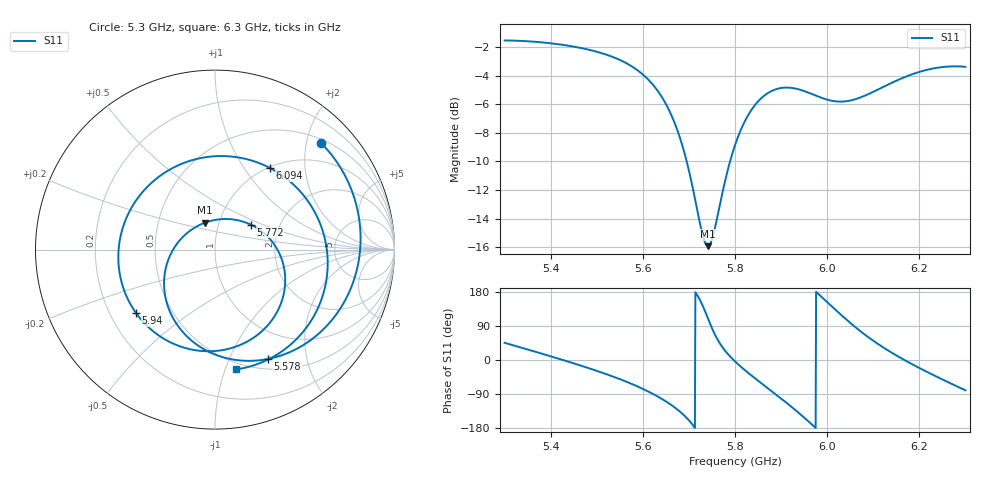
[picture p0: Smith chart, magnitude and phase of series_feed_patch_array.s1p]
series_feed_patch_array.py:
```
import emerge as em
import numpy as np
from emerge.plot import plot_sp, smith, plot_ff_polar, plot_ff

""" PATCH ANTENNA DEMO

This design is modeled after this Comsol Demo: https://www.comsol.com/model/microstrip-patch-antenna-11742

In this demo we build and simulate a rectangular patch antenna on a dielectric
substrate with airbox and lumped port excitation, then visualize S-parameters
and far-field radiation patterns. 

This simulation is quite heavy and might take a while to fully compute with SuperLU on ARM Mac's (UMFPACK Advised)

Due to the relatively coarse mesh, the resonance frequency is lower than in reality (expected around 1.59GHz)
"""

# --- Unit and simulation parameters --------------------------------------
mm = 0.001              # meters per millimeter

# --- Antenna geometry dimensions ----------------------------------------
# Array parameters
patch_widths = [13.4, 20.2, 23.4, 20.2, 13.4]  # mm - widths for 5 patches
patch_lengths = [15.1, 14.5, 14.4, 14.5, 15.1]  # mm - lengths for 5 patches
wline = 3.9 * mm        # feed line width
lline_first = 24.2 * mm # first feed line length
lline_rest = 14.5 * mm  # subsequent feed line lengths

# Convert patch dimensions to meters
patch_widths = [w * mm for w in patch_widths]
patch_lengths = [L * mm for L in patch_lengths]

# Substrate dimensions
wsub = 40 * mm         # substrate width (increased for array)
hsub = 180 * mm         # substrate length (increased for array)
th = 1.524 * mm         # substrate thickness
Rair = 100 * mm         # air sphere radius (increased for larger structure)

# Refined frequency range for antenna resonance around 1.54–1.6 GHz
f1 = 5.3e9             # start frequency
f2 = 6.3e9             # stop frequency

# --- Create simulation object -------------------------------------------
model = em.Simulation('SeriesFeedPatchArray', save_file=True)

model.check_version("2.2.1") # Checks version compatibility.

# --- Define geometry primitives -----------------------------------------
# Substrate block centered at origin in XY, thickness in Z (negative down)
dielectric = em.geo.Box(wsub, hsub, th,
                        position=(-wsub/2, -hsub/2, -th))

# Air box above substrate (Z positive)
air = em.geo.Sphere(Rair).background()
# Background makes sure no materials of overlapping domains are overwritten

# Ground plane
ground = (em.geo.XYPlate(wsub, hsub, position=(-wsub/2, -hsub/2, -th))
         .set_material(em.lib.PEC))

# --- Build series-fed patch array using chaining ------------------------
# Starting position for the array (bottom of substrate, centered in X)
y_start = -hsub/2
current_y = y_start

# Create the complete array geometry by chaining patches and feed lines
# Start with first feed line
array_geometry = em.geo.XYPlate(wline, lline_first,
                               position=(-wline/2, current_y, 0))
current_y += lline_first

# Add all 5 patches with their connecting feed lines
for i in range(5):
    w = patch_widths[i]
    L = patch_lengths[i]

    # Add patch centered on feed line using em.geo.add()
    patch = em.geo.XYPlate(w, L, position=(-w/2, current_y, 0))
    array_geometry = em.geo.add(array_geometry, patch)
    current_y += L

    # Add feed line after patch (except after the last patch)
    if i < 4:  # Only 4 feed lines after the first one
        feedline = em.geo.XYPlate(wline, lline_rest, position=(-wline/2, current_y, 0))
        array_geometry = em.geo.add(array_geometry, feedline)
        current_y += lline_rest

# Set material for entire array structure
array_geometry.set_material(em.lib.PEC)

# Plate defining lumped port geometry at the bottom feed line
port = em.geo.Plate(
    np.array([-wline/2, y_start, -th]),          # lower port corner
    np.array([wline, 0, 0]),                     # width vector along X
    np.array([0, 0, th])                         # height vector along Z
)

# --- Assign materials and simulation settings ---------------------------
# Dielectric material with some transparency for display
dielectric.set_material(em.Material(3.0, color="#207020", opacity=0.9))

# Mesh resolution: fraction of wavelength (larger = coarser mesh = less memory)
model.mw.set_resolution(0.15)

# Frequency sweep across the resonance
model.mw.set_frequency_range(f1, f2, 11)

# --- Combine geometry into simulation -----------------------------------
model.commit_geometry()

# --- Mesh refinement settings --------------------------------------------
# Finer boundary mesh on patch edges for accuracy
model.mesher.set_boundary_size(array_geometry, 1.5 * mm)
# Refined mesh on port face for excitation accuracy
model.mesher.set_face_size(port, 1 * mm)

# --- Generate mesh and preview ------------------------------------------
model.generate_mesh()             # build the finite-element mesh
model.view(selections=[port])     # show the mesh around the port

# --- Boundary conditions ------------------------------------------------
# Define lumped port with specified orientation and impedance
port_bc = model.mw.bc.LumpedPort(
    port, 1,
    width=wline, height=th,
    direction=em.ZAX, Z0=50
)

# Predefining selection
# The outside of the air box for the absorbing boundary
boundary_selection = air.boundary()
# The patch array and ground surface for PEC
pec_selection = em.select(array_geometry, ground)

# Assigning the boundary conditions
abc = model.mw.bc.AbsorbingBoundary(boundary_selection)
# --- Run frequency-domain solver ----------------------------------------
model.view(plot_mesh=True, volume_mesh=False)

# Try PARDISO (fast and memory efficient) or remove line to let emerge auto-select
try:
    model.set_solver(em.EMSolver.PARDISO)
    print("Using PARDISO solver")
except:
    try:
        model.set_solver(em.EMSolver.SUPERLU)
        print("Using SUPERLU solver")
    except:
        print("Using default solver")

if model.cache_run():
    data = model.mw.run_sweep(harddisc_threshold=10e3,
                              harddisc_path="./series_feed_patch_array_harddisc")
data = model.data.mw

# --- Post-process S-parameters ------------------------------------------
freqs = data.scalar.grid.freq
freq_dense = np.linspace(f1, f2, 1001)
S11 = data.scalar.grid.model_S(1, 1, freq_dense)# reflection coefficient
plot_sp(freq_dense, S11)                        # plot return loss in dB
smith(S11, f=freq_dense, labels='S11')          # Smith chart of S11

# --- Export S1P Touchstone file -------------------------------------------
data.scalar.grid.export_touchstone('series_feed_patch_array',
                                   format='RI', funit='GHZ',
                                   dense_freq=freq_dense)

# --- Far-field radiation pattern ----------------------------------------
# Extract 2D cut at phi=0 plane and plot E-field magnitude
ff1 = data.field.find(freq=5.8e9)\
    .farfield_2d((0, 0, 1), (1, 0, 0), boundary_selection)
ff2 = data.field.find(freq=5.8e9)\
    .farfield_2d((0, 0, 1), (0, 1, 0), boundary_selection)

plot_ff(ff1.ang*180/np.pi, [ff1.normE/em.lib.EISO, ff2.normE/em.lib.EISO], dB=True, ylabel='Gain [dBi]')                # linear plot vs theta
plot_ff_polar(ff1.ang, [ff1.normE/em.lib.EISO, ff2.normE/em.lib.EISO], dB=True, dBfloor=-20)          # polar plot of radiation

# --- 3D radiation visualization -----------------------------------------
# Add geometry to 3D display
model.display.add_object(array_geometry)
model.display.add_object(dielectric)
# Compute full 3D far-field and display surface colored by |E|
field = data.field.find(freq=5.8e9)
ff3d = field.farfield_3d(boundary_selection)
surf = ff3d.surfplot('normE', rmax=60 * mm,
                      offset=(0, 0, 20 * mm))

model.display.add_surf(*surf)
model.display.show()
```
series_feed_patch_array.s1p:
! Generated by EMerge - 1-port S-parameters
! File generated: 2026-02-13 00:01
# GHZ S RI R 50
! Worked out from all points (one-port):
!   1001 points, 5.3 GHz to 6.3 GHz, reference 50 ohm
!   lowest |S11| = -15.9 dB at 5.741 GHz (marker M1), VSWR 1.38, Z = 42.8 + j13.1 ohm
!   |S11| at or under -10 dB: 5.695 GHz to 5.789 GHz (94.05 MHz wide, 1.64 % of centre)
!   S11 on the Smith chart (normalised r, x): 5.3 GHz: 0.57, +2.27; 5.578 GHz: 0.62, -1.40; 5.772 GHz: 1.42, +0.42; 5.94 GHz: 0.31, -0.32; 6.094 GHz: 1.02, +1.32; 6.3 GHz: 0.44, -1.09
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5.3  0.5884 0.5965
5.443  0.7962 -0.0863
5.578  0.2942 -0.6096
5.634  -0.0725 -0.5486
5.741  -0.0568 0.1495
5.772  0.1988 0.1395
5.839  0.3501 -0.3392
5.891  -0.0285 -0.5664
5.94  -0.4408 -0.3524
5.967  -0.5364 -0.0922
6.033  -0.2254 0.4599
6.094  0.3062 0.4548
6.188  0.6235 -0.1496
6.3  0.1186 -0.6673
